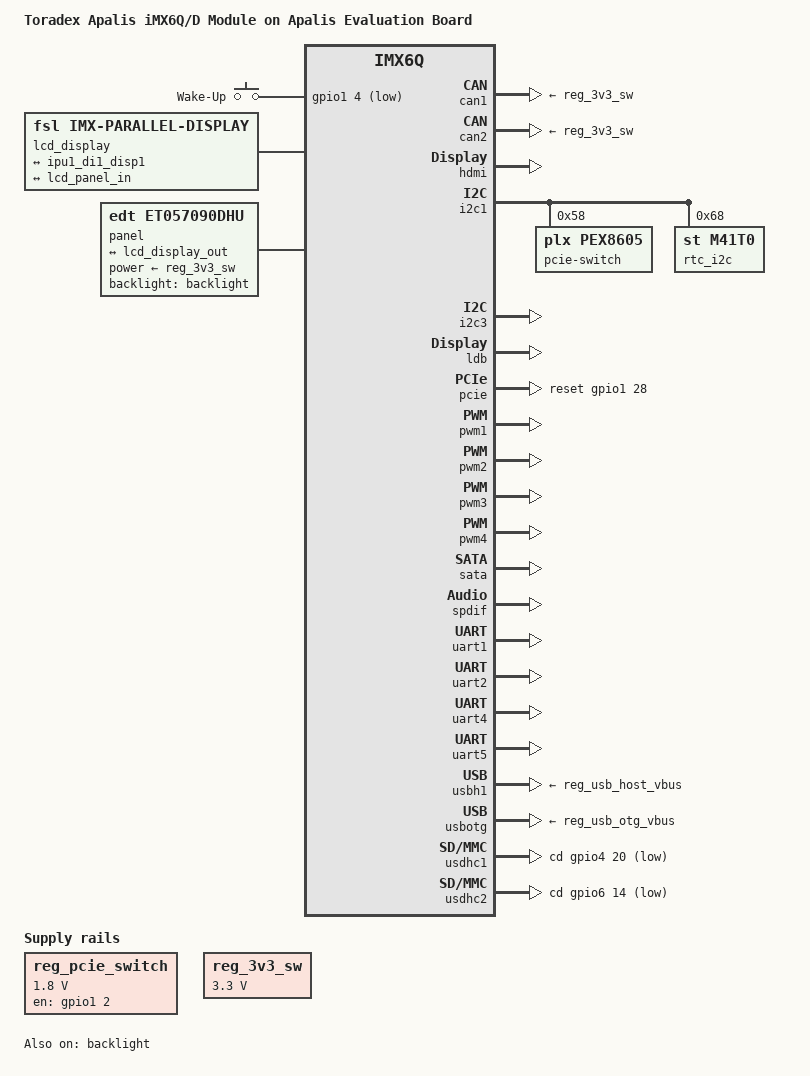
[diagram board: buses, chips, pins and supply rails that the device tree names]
// SPDX-License-Identifier: GPL-2.0+ OR MIT
/*
 * Copyright 2014-2020 Toradex
 * Copyright 2012 Freescale Semiconductor, Inc.
 * Copyright 2011 Linaro Ltd.
 */

/dts-v1/;

#include <dt-bindings/gpio/gpio.h>
#include <dt-bindings/input/input.h>
#include <dt-bindings/interrupt-controller/irq.h>
#include "imx6q.dtsi"
#include "imx6qdl-apalis.dtsi"

/ {
	model = "Toradex Apalis iMX6Q/D Module on Apalis Evaluation Board";
	compatible = "toradex,apalis_imx6q-eval", "toradex,apalis_imx6q",
		     "fsl,imx6q";

	aliases {
		i2c0 = &i2c1;
		i2c1 = &i2c3;
		i2c2 = &i2c2;
		rtc0 = &rtc_i2c;
		rtc1 = &snvs_rtc;
	};

	chosen {
		stdout-path = "serial0:115200n8";
	};

	gpio-keys {
		compatible = "gpio-keys";
		pinctrl-names = "default";
		pinctrl-0 = <&pinctrl_gpio_keys>;

		wakeup {
			label = "Wake-Up";
			gpios = <&gpio1 4 GPIO_ACTIVE_LOW>;
			linux,code = <KEY_WAKEUP>;
			debounce-interval = <10>;
			wakeup-source;
		};
	};

	lcd_display: disp0 {
		compatible = "fsl,imx-parallel-display";
		#address-cells = <1>;
		#size-cells = <0>;
		interface-pix-fmt = "rgb24";
		pinctrl-names = "default";
		pinctrl-0 = <&pinctrl_ipu1_lcdif>;
		status = "okay";

		port@0 {
			reg = <0>;

			lcd_display_in: endpoint {
				remote-endpoint = <&ipu1_di1_disp1>;
			};
		};

		port@1 {
			reg = <1>;

			lcd_display_out: endpoint {
				remote-endpoint = <&lcd_panel_in>;
			};
		};
	};

	panel: panel {
		/*
		 * edt,et057090dhu: EDT 5.7" LCD TFT
		 * edt,et070080dh6: EDT 7.0" LCD TFT
		 */
		compatible = "edt,et057090dhu";
		backlight = <&backlight>;
		power-supply = <&reg_3v3_sw>;

		port {
			lcd_panel_in: endpoint {
				remote-endpoint = <&lcd_display_out>;
			};
		};
	};

	reg_pcie_switch: regulator-pcie-switch {
		compatible = "regulator-fixed";
		regulator-name = "pcie_switch";
		regulator-min-microvolt = <1800000>;
		regulator-max-microvolt = <1800000>;
		gpio = <&gpio1 2 GPIO_ACTIVE_HIGH>;
		startup-delay-us = <100000>;
		enable-active-high;
		status = "okay";
	};

	reg_3v3_sw: regulator-3v3-sw {
		compatible = "regulator-fixed";
		regulator-name = "3.3V_SW";
		regulator-min-microvolt = <3300000>;
		regulator-max-microvolt = <3300000>;
		regulator-always-on;
	};
};

&backlight {
	brightness-levels = <0 127 191 223 239 247 251 255>;
	default-brightness-level = <1>;
	power-supply = <&reg_3v3_sw>;
	status = "okay";
};

&can1 {
	xceiver-supply = <&reg_3v3_sw>;
	status = "okay";
};

&can2 {
	xceiver-supply = <&reg_3v3_sw>;
	status = "okay";
};

&hdmi {
	status = "okay";
};

/* I2C1_SDA/SCL on MXM3 209/211 (e.g. RTC on carrier board) */
&i2c1 {
	status = "okay";

	/*
	 * Touchscreen is using SODIMM 28/30, also used for PWM<B>, PWM<C>,
	 * aka pwm2, pwm3. so if you enable touchscreen, disable the pwms
	 */
	touchscreen@4a {
		compatible = "atmel,maxtouch";
		reg = <0x4a>;
		interrupt-parent = <&gpio6>;
		interrupts = <10 IRQ_TYPE_EDGE_FALLING>;
		reset-gpios = <&gpio6 9 GPIO_ACTIVE_HIGH>; /* SODIMM 13 */
		status = "disabled";
	};

	pcie-switch@58 {
		compatible = "plx,pex8605";
		reg = <0x58>;
	};

	/* M41T0M6 real time clock on carrier board */
	rtc_i2c: rtc@68 {
		compatible = "st,m41t0";
		reg = <0x68>;
	};
};

/*
 * I2C3_SDA/SCL (CAM) on MXM3 pin 201/203 (e.g. camera sensor on carrier
 * board)
 */
&i2c3 {
	status = "okay";
};

&ipu1_di1_disp1 {
	remote-endpoint = <&lcd_display_in>;
};

&ldb {
	status = "okay";
};

&pcie {
	pinctrl-names = "default";
	pinctrl-0 = <&pinctrl_reset_moci>;
	/* active-high meaning opposite of regular PERST# active-low polarity */
	reset-gpio = <&gpio1 28 GPIO_ACTIVE_HIGH>;
	reset-gpio-active-high;
	vpcie-supply = <&reg_pcie_switch>;
	status = "okay";
};

&pwm1 {
	status = "okay";
};

&pwm2 {
	status = "okay";
};

&pwm3 {
	status = "okay";
};

&pwm4 {
	status = "okay";
};

&reg_usb_otg_vbus {
	status = "okay";
};

&reg_usb_host_vbus {
	status = "okay";
};

&sata {
	status = "okay";
};

&sound_spdif {
	status = "okay";
};

&spdif {
	status = "okay";
};

&uart1 {
	status = "okay";
};

&uart2 {
	status = "okay";
};

&uart4 {
	status = "okay";
};

&uart5 {
	status = "okay";
};

&usbh1 {
	vbus-supply = <&reg_usb_host_vbus>;
	status = "okay";
};

&usbotg {
	vbus-supply = <&reg_usb_otg_vbus>;
	status = "okay";
};

/* MMC1 */
&usdhc1 {
	pinctrl-names = "default";
	pinctrl-0 = <&pinctrl_usdhc1_4bit &pinctrl_usdhc1_8bit &pinctrl_mmc_cd>;
	cd-gpios = <&gpio4 20 GPIO_ACTIVE_LOW>;
	status = "okay";
};

/* SD1 */
&usdhc2 {
	pinctrl-names = "default";
	pinctrl-0 = <&pinctrl_usdhc2 &pinctrl_sd_cd>;
	cd-gpios = <&gpio6 14 GPIO_ACTIVE_LOW>;
	status = "okay";
};

&iomuxc {
	/*
	 * Mux the Apalis GPIOs
	 */
	pinctrl-names = "default";
	pinctrl-0 = <&pinctrl_apalis_gpio1 &pinctrl_apalis_gpio2
		     &pinctrl_apalis_gpio3 &pinctrl_apalis_gpio4
		     &pinctrl_apalis_gpio5 &pinctrl_apalis_gpio6
		     &pinctrl_apalis_gpio7 &pinctrl_apalis_gpio8
		    >;
};
